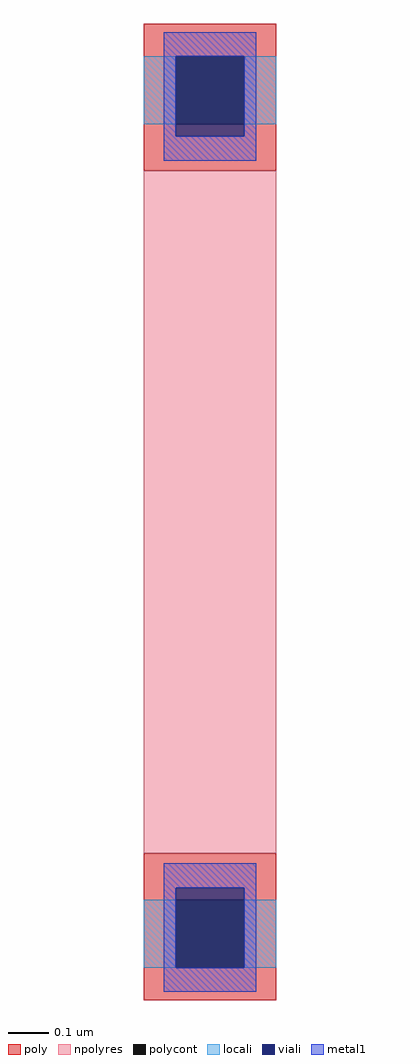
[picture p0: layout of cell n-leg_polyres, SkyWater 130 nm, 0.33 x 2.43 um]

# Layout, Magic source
magic
tech sky130A
magscale 1 2
<< poly >>
rect -33 227 33 243
rect -33 193 -17 227
rect 17 193 33 227
rect -33 170 33 193
rect -33 -193 33 -170
rect -33 -227 -17 -193
rect 17 -227 33 -193
rect -33 -243 33 -227
<< polycont >>
rect -17 193 17 227
rect -17 -227 17 -193
<< npolyres >>
rect -33 -170 33 170
<< locali >>
rect -33 193 -17 227
rect 17 193 33 227
rect -33 -227 -17 -193
rect 17 -227 33 -193
<< viali >>
rect -17 193 17 227
rect -17 187 17 193
rect -17 -193 17 -187
rect -17 -227 17 -193
<< metal1 >>
rect -23 227 23 239
rect -23 187 -17 227
rect 17 187 23 227
rect -23 175 23 187
rect -23 -187 23 -175
rect -23 -227 -17 -187
rect 17 -227 23 -187
rect -23 -239 23 -227
<< properties >>
string gencell sky130_fd_pr__res_generic_po
string parameters w 0.33 l 1.7 m 1 nx 1 wmin 0.330 lmin 1.650 rho 48.2 val 248.303 dummy 0 dw 0.0 term 0.0 sterm 0.0 caplen 0.4 snake 0 guard 0 glc 0 grc 0 gtc 0 gbc 0 roverlap 0 endcov 100 full_metal 0 hv_guard 0 n_guard 0 vias 1 viagb 0 viagt 0 viagl 0 viagr 0
string library sky130
<< end >>
